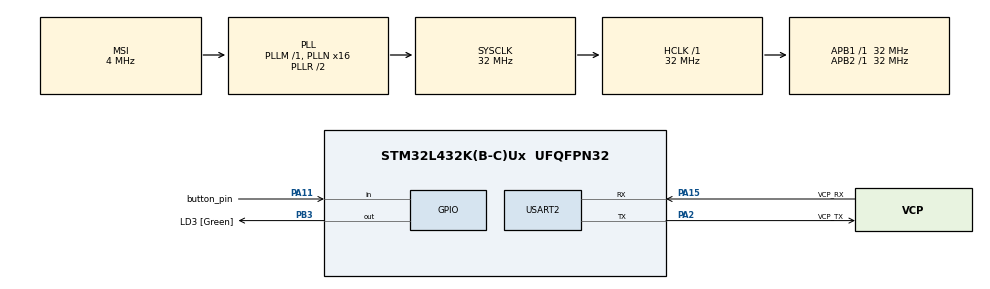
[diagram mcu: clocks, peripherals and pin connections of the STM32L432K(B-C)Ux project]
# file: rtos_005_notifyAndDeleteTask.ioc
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FREERTOS.Tasks01=defaultTask,24,128,StartDefaultTask,Default,NULL,Dynamic,NULL,NULL
FREERTOS.configUSE_NEWLIB_REENTRANT=1
Mcu.Family=STM32L4
Mcu.Name=STM32L432K(B-C)Ux
Mcu.Package=UFQFPN32
NVIC.PriorityGroup=NVIC_PRIORITYGROUP_4
NVIC.TIM6_DAC_IRQn=true\:15\:0\:false\:false\:true\:false\:false\:true\:true
NVIC.TimeBase=TIM6_DAC_IRQn
NVIC.TimeBaseIP=TIM6
PA0.GPIO_Label=MCO [High speed clock in]
PA0.Mode=HSE-External-Clock-Source-for-LittleOrca
PA0.Signal=RCC_CK_IN
PA11.GPIO_Label=button_pin
PA11.GPIO_PuPd=GPIO_PULLDOWN
PA11.Signal=GPIO_Input
PA13\ (JTMS-SWDIO).GPIO_Label=SWDIO
PA13\ (JTMS-SWDIO).Mode=Serial_Wire
PA13\ (JTMS-SWDIO).Signal=SYS_JTMS-SWDIO
PA14\ (JTCK-SWCLK).GPIO_Label=SWCLK
PA14\ (JTCK-SWCLK).Mode=Serial_Wire
PA14\ (JTCK-SWCLK).Signal=SYS_JTCK-SWCLK
PA15\ (JTDI).GPIO_Label=VCP_RX
PA15\ (JTDI).Mode=Asynchronous
PA15\ (JTDI).Signal=USART2_RX
PA2.GPIO_Label=VCP_TX
PA2.Mode=Asynchronous
PA2.Signal=USART2_TX
PB3\ (JTDO-TRACESWO).GPIO_Label=LD3 [Green]
PB3\ (JTDO-TRACESWO).Signal=GPIO_Output
PC14-OSC32_IN\ (PC14).Mode=LSE-External-Oscillator
PC14-OSC32_IN\ (PC14).Signal=RCC_OSC32_IN
PC15-OSC32_OUT\ (PC15).Mode=LSE-External-Oscillator
PC15-OSC32_OUT\ (PC15).Signal=RCC_OSC32_OUT
ProjectManager.HeapSize=0x200
ProjectManager.StackSize=0x400
ProjectManager.TargetToolchain=STM32CubeIDE
RCC.AHBFreq_Value=32000000
RCC.APB1Freq_Value=32000000
RCC.APB1TimFreq_Value=32000000
RCC.APB2Freq_Value=32000000
RCC.APB2TimFreq_Value=32000000
RCC.CortexFreq_Value=32000000
RCC.HCLKFreq_Value=32000000
RCC.HSE_VALUE=8000000
RCC.HSI16_VALUE=16000000
RCC.HSI48_VALUE=48000000
RCC.HSI_VALUE=16000000
RCC.MSI_VALUE=4000000
RCC.PLLMUL=RCC_PLLMUL_4
RCC.PLLN=16
RCC.SYSCLKFreq_VALUE=32000000
RCC.SYSCLKSource=RCC_SYSCLKSOURCE_PLLCLK
RCC.VCOOutputFreq_Value=64000000
USART2.VirtualMode-Asynchronous=VM_ASYNC
VP_FREERTOS_VS_CMSIS_V2.Mode=CMSIS_V2
VP_SYS_VS_tim6.Mode=TIM6
board=NUCLEO-L432KC

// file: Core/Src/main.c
/* USER CODE BEGIN Header */
/**
 ******************************************************************************
 * @file           : main.c
 * @brief          : Main program body
 ******************************************************************************
 * @attention
 *
 * Copyright (c) 2025 STMicroelectronics.
 * All rights reserved.
 *
 * This software is licensed under terms that can be found in the LICENSE file
 * in the root directory of this software component.
 * If no LICENSE file comes with this software, it is provided AS-IS.
 *
 ******************************************************************************
 */
/* USER CODE END Header */
#include "main.h"
#include "cmsis_os.h"

/* USER CODE BEGIN Includes */
#include "stdio.h"
#include "string.h"
/* USER CODE END Includes */

UART_HandleTypeDef huart2;

/* Definitions for defaultTask */
osThreadId_t defaultTaskHandle;
const osThreadAttr_t defaultTask_attributes = {
  .name = "defaultTask",
  .stack_size = 128 * 4,
  .priority = (osPriority_t) osPriorityNormal,
};

void SystemClock_Config(void);
static void MX_GPIO_Init(void);
static void MX_USART2_UART_Init(void);
void StartDefaultTask(void *argument);

/* USER CODE BEGIN PFP */
TaskHandle_t red_handle = NULL;
TaskHandle_t green_handle = NULL;
TaskHandle_t yellow_handle = NULL;
TaskHandle_t button_handle = NULL;
volatile TaskHandle_t* pcurrentHandle = &red_handle;  // initializing with the first task
/* USER CODE END PFP */

/* USER CODE BEGIN 0 */
void red_task(void*);

void green_task(void*);

void yellow_task(void*);
void button_task(void*);
void printHeapSize()
{
	size_t freeHeap = xPortGetFreeHeapSize();
	  uint8_t buff[50] = {0};
	  int len = snprintf((char*)buff, sizeof(buff), "Free Heap Size: %u\r\n", freeHeap);

	  HAL_UART_Transmit(&huart2, buff, len, 1000);  // Send the exact number of characters written

	    printf("Free Heap Size: %u\n", freeHeap);
}
/* USER CODE END 0 */

int main(void)
{
  /* USER CODE BEGIN 1 */
  BaseType_t status = 0;

  /* USER CODE END 1 */

  /* MCU Configuration--------------------------------------------------------*/

  /* Reset of all peripherals, Initializes the Flash interface and the Systick. */
  HAL_Init();

  /* Configure the system clock */
  SystemClock_Config();

  /* Initialize all configured peripherals */
  MX_GPIO_Init();
  MX_USART2_UART_Init();

  /* Init scheduler */
  osKernelInitialize();

  /* Create the thread(s) */
  /* creation of defaultTask */
  defaultTaskHandle = osThreadNew(StartDefaultTask, NULL, &defaultTask_attributes);

  /* USER CODE BEGIN RTOS_THREADS */
  /* add threads, ... */
  HAL_UART_Transmit(&huart2, (uint8_t*)"Hello\r\n", sizeof("Hello\r\n") - 1, 1000);

//  printHeapSize();
  status = xTaskCreate(red_task, "Led1", 100, NULL, 1, &red_handle);
  if (status != pdPASS) HAL_UART_Transmit(&huart2, (uint8_t*)"Task1 creation failed\r\n", sizeof("Task1 creation failed\r\n") - 1, 1000);
  configASSERT(status == pdPASS);

//  printHeapSize();

  status = xTaskCreate(green_task, "Led2", 100, NULL, 3, &green_handle);
  if (status != pdPASS) HAL_UART_Transmit(&huart2, (uint8_t*)"Task2 creation failed\r\n", sizeof("Task2 creation failed\r\n") - 1, 1000);
  configASSERT(status == pdPASS);

//  printHeapSize();

  status = xTaskCreate(yellow_task, "Led3", 100, NULL, 2, &yellow_handle);
  if (status != pdPASS) HAL_UART_Transmit(&huart2, (uint8_t*)"Task3 creation failed\r\n", sizeof("Task3 creation failed\r\n") - 1, 1000);
  configASSERT(status == pdPASS);

//  printHeapSize();
  //  configASSERT(status==pdPASS);
  status = xTaskCreate(button_task, "button", 250, NULL, 4, &button_handle);
  if (status != pdPASS) HAL_UART_Transmit(&huart2, (uint8_t*)"button creation failed\r\n", sizeof("button creation failed\r\n") - 1, 1000);
  configASSERT(status == pdPASS);
  HAL_UART_Transmit(&huart2, (uint8_t*)"All task created successfully\r\n", sizeof("All task created successfully\r\n") - 1, 1000);
  printHeapSize();

  vTaskStartScheduler();
  HAL_UART_Transmit(&huart2, (uint8_t*)"Scheduler initialization failed\r\n", sizeof("Scheduler initialization failed\r\n") - 1, 1000);

  //  printf("Scheduler initialization failed\r\n");
  /* USER CODE END RTOS_THREADS */

  /* Start scheduler */
  osKernelStart();
  /* We should never get here as control is now taken by the scheduler */
  /* Infinite loop */
  while (1) {

  }
}

void SystemClock_Config(void)
{
  RCC_OscInitTypeDef RCC_OscInitStruct = {0};
  RCC_ClkInitTypeDef RCC_ClkInitStruct = {0};

  /** Configure the main internal regulator output voltage
  */
  if (HAL_PWREx_ControlVoltageScaling(PWR_REGULATOR_VOLTAGE_SCALE1) != HAL_OK)
  {
    Error_Handler();
  }

  /** Configure LSE Drive Capability
  */
  HAL_PWR_EnableBkUpAccess();
  __HAL_RCC_LSEDRIVE_CONFIG(RCC_LSEDRIVE_LOW);

  /** Initializes the RCC Oscillators according to the specified parameters
  * in the RCC_OscInitTypeDef structure.
  */
  RCC_OscInitStruct.OscillatorType = RCC_OSCILLATORTYPE_LSE|RCC_OSCILLATORTYPE_MSI;
  RCC_OscInitStruct.LSEState = RCC_LSE_ON;
  RCC_OscInitStruct.MSIState = RCC_MSI_ON;
  RCC_OscInitStruct.MSICalibrationValue = 0;
  RCC_OscInitStruct.MSIClockRange = RCC_MSIRANGE_6;
  RCC_OscInitStruct.PLL.PLLState = RCC_PLL_ON;
  RCC_OscInitStruct.PLL.PLLSource = RCC_PLLSOURCE_MSI;
  RCC_OscInitStruct.PLL.PLLM = 1;
  RCC_OscInitStruct.PLL.PLLN = 16;
  RCC_OscInitStruct.PLL.PLLP = RCC_PLLP_DIV7;
  RCC_OscInitStruct.PLL.PLLQ = RCC_PLLQ_DIV2;
  RCC_OscInitStruct.PLL.PLLR = RCC_PLLR_DIV2;
  if (HAL_RCC_OscConfig(&RCC_OscInitStruct) != HAL_OK)
  {
    Error_Handler();
  }

  /** Initializes the CPU, AHB and APB buses clocks
  */
  RCC_ClkInitStruct.ClockType = RCC_CLOCKTYPE_HCLK|RCC_CLOCKTYPE_SYSCLK
                              |RCC_CLOCKTYPE_PCLK1|RCC_CLOCKTYPE_PCLK2;
  RCC_ClkInitStruct.SYSCLKSource = RCC_SYSCLKSOURCE_PLLCLK;
  RCC_ClkInitStruct.AHBCLKDivider = RCC_SYSCLK_DIV1;
  RCC_ClkInitStruct.APB1CLKDivider = RCC_HCLK_DIV1;
  RCC_ClkInitStruct.APB2CLKDivider = RCC_HCLK_DIV1;

  if (HAL_RCC_ClockConfig(&RCC_ClkInitStruct, FLASH_LATENCY_1) != HAL_OK)
  {
    Error_Handler();
  }

  /** Enable MSI Auto calibration
  */
  HAL_RCCEx_EnableMSIPLLMode();
}

static void MX_USART2_UART_Init(void)
{

  huart2.Instance = USART2;
  huart2.Init.BaudRate = 115200;
  huart2.Init.WordLength = UART_WORDLENGTH_8B;
  huart2.Init.StopBits = UART_STOPBITS_1;
  huart2.Init.Parity = UART_PARITY_NONE;
  huart2.Init.Mode = UART_MODE_TX_RX;
  huart2.Init.HwFlowCtl = UART_HWCONTROL_NONE;
  huart2.Init.OverSampling = UART_OVERSAMPLING_16;
  huart2.Init.OneBitSampling = UART_ONE_BIT_SAMPLE_DISABLE;
  huart2.AdvancedInit.AdvFeatureInit = UART_ADVFEATURE_NO_INIT;
  if (HAL_UART_Init(&huart2) != HAL_OK)
  {
    Error_Handler();
  }

}

static void MX_GPIO_Init(void)
{
  GPIO_InitTypeDef GPIO_InitStruct = {0};

  /* GPIO Ports Clock Enable */
  __HAL_RCC_GPIOC_CLK_ENABLE();
  __HAL_RCC_GPIOA_CLK_ENABLE();
  __HAL_RCC_GPIOB_CLK_ENABLE();

  /*Configure GPIO pin Output Level */
  HAL_GPIO_WritePin(LD3_GPIO_Port, LD3_Pin, GPIO_PIN_RESET);

  /*Configure GPIO pin : button_pin_Pin */
  GPIO_InitStruct.Pin = button_pin_Pin;
  GPIO_InitStruct.Mode = GPIO_MODE_INPUT;
  GPIO_InitStruct.Pull = GPIO_PULLDOWN;
  HAL_GPIO_Init(button_pin_GPIO_Port, &GPIO_InitStruct);

  /*Configure GPIO pin : LD3_Pin */
  GPIO_InitStruct.Pin = LD3_Pin;
  GPIO_InitStruct.Mode = GPIO_MODE_OUTPUT_PP;
  GPIO_InitStruct.Pull = GPIO_NOPULL;
  GPIO_InitStruct.Speed = GPIO_SPEED_FREQ_LOW;
  HAL_GPIO_Init(LD3_GPIO_Port, &GPIO_InitStruct);

}

/* USER CODE BEGIN 4 */
void red_task(void* para) {
  while (1) {
    HAL_UART_Transmit(&huart2, (uint8_t*)"Red task Running \r\n", sizeof("Red task Running \r\n") - 1, 1000);
    if (xTaskNotifyWait(0, 0, NULL, pdMS_TO_TICKS(800)) == pdPASS) {
      HAL_UART_Transmit(&huart2, (uint8_t*)"Deleting Red task \r\n", sizeof("Deleting Red task \r\n") - 1, 1000);
      pcurrentHandle = &green_handle;
      vTaskDelete(NULL);
    }
  }
}
void green_task(void* para) {
  while (1) {
	  HAL_GPIO_TogglePin(LD3_GPIO_Port, LD3_Pin);
    HAL_UART_Transmit(&huart2, (uint8_t*)"Green task Running \r\n", sizeof("Green task Running \r\n") - 1, 1000);
    if (xTaskNotifyWait(0, 0, NULL, pdMS_TO_TICKS(100)) == pdPASS) {
      HAL_UART_Transmit(&huart2, (uint8_t*)"Deleting Green task \r\n", sizeof("Deleting Green task \r\n") - 1, 1000);
  	  HAL_GPIO_WritePin(LD3_GPIO_Port, LD3_Pin,GPIO_PIN_SET);
      pcurrentHandle = &yellow_handle;
      vTaskDelete(NULL);
    }
  }
}
void yellow_task(void* para) {
  while (1) {
    HAL_UART_Transmit(&huart2, (uint8_t*)"Yellow task Running \r\n", sizeof("Yellow task Running \r\n") - 1, 1000);
    if (xTaskNotifyWait(0, 0, NULL, pdMS_TO_TICKS(500)) == pdPASS) {
        HAL_UART_Transmit(&huart2, (uint8_t*)"Deleting Yellow task \r\n", sizeof("Deleting Yellow task \r\n") - 1, 1000);
      pcurrentHandle = NULL;
      vTaskDelete(NULL);
    }
  }
}
void button_task(void* para) {
  uint8_t buttonState = 0;
  while (1) {
    if (HAL_GPIO_ReadPin(button_pin_GPIO_Port, button_pin_Pin) == GPIO_PIN_SET) {
      HAL_Delay(50);  // debounce delay
      if (HAL_GPIO_ReadPin(button_pin_GPIO_Port, button_pin_Pin) == GPIO_PIN_SET) {
        buttonState = 1;
        while (HAL_GPIO_ReadPin(button_pin_GPIO_Port, button_pin_Pin) == GPIO_PIN_SET);  // wait until released to avoid multiple action on single press
      }
    }
    if (buttonState == 1 && pcurrentHandle != NULL) {
      // short press
      xTaskNotify(*(pcurrentHandle), 0, eNoAction);  // notify the first task to delete
      buttonState = 0;
    } else if (pcurrentHandle == NULL) {
      vTaskDelete(NULL);  // deleting button state when no more led  task left
    }
    vTaskDelay(pdMS_TO_TICKS(10));  // small delay to avoid busy looping
  }
}
/* USER CODE END 4 */

void StartDefaultTask(void *argument)
{
  for (;;) {
    osDelay(1);
  }
}

void HAL_TIM_PeriodElapsedCallback(TIM_HandleTypeDef *htim)
{
  if (htim->Instance == TIM6) {
    HAL_IncTick();
  }
}

void Error_Handler(void)
{
  __disable_irq();
  while (1) {
  }
}
